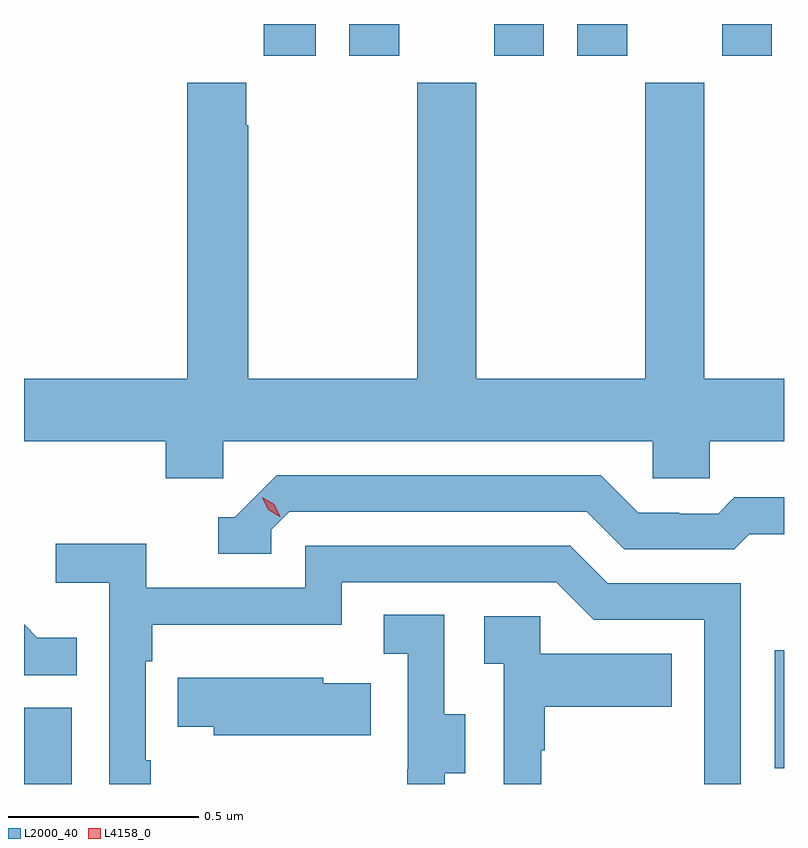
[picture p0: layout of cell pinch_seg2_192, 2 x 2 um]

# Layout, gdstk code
import gdstk
lib = gdstk.Library(unit=1e-6, precision=1e-09)
def R(c, l, rs):  # rectangles x0, y0, x1, y1
    for r in rs: c.add(gdstk.rectangle(r[:2], r[2:], *l))
def P(c, l, *ps):  # polygons
    for p in ps: c.add(gdstk.Polygon(p, *l))
L2000_40 = (2000, 40)
L4158_0 = (4158, 0)

pinch_seg2_192 = lib.new_cell('pinch_seg2_192')
R(pinch_seg2_192, L2000_40, [(1142.398,638.742,1142.524,638.943), (1144.374,638.784,1144.398,639.094), (1143.029,640.659,1143.166,640.742), (1143.254,640.659,1143.385,640.742), (1143.635,640.659,1143.766,640.742), (1143.854,640.659,1143.985,640.742), (1144.235,640.659,1144.366,640.742)])
P(pinch_seg2_192, L2000_40, [(1142.922,639.644),(1144.053,639.644),(1144.053,639.546),(1144.203,639.546),(1144.203,639.644),(1144.398,639.644),(1144.398,639.808),(1144.188,639.808),(1144.188,640.588),(1144.033,640.588),(1144.033,639.808),(1143.588,639.808),(1143.588,640.588),(1143.433,640.588),(1143.433,639.808),(1142.988,639.808),(1142.988,640.475),(1142.983,640.475),(1142.983,640.588),(1142.828,640.588),(1142.828,639.808),(1142.398,639.808),(1142.398,639.644),(1142.771,639.644),(1142.771,639.546),(1142.922,639.546)],
  [(1143.048,639.411),(1143.096,639.459),(1143.879,639.459),(1143.978,639.36),(1144.267,639.36),(1144.306,639.399),(1144.398,639.399),(1144.398,639.496),(1144.267,639.496),(1144.225,639.453),(1144.122,639.453),(1144.122,639.456),(1144.015,639.456),(1143.916,639.555),(1143.063,639.555),(1142.952,639.444),(1142.909,639.444),(1142.909,639.348),(1143.048,639.348)],
  [(1142.731,638.804),(1142.718,638.804),(1142.718,639.065),(1142.735,639.065),(1142.735,639.161),(1143.234,639.161),(1143.234,639.273),(1143.798,639.273),(1143.897,639.174),(1144.188,639.174),(1144.188,638.742),(1144.284,638.742),(1144.284,639.27),(1143.934,639.27),(1143.835,639.369),(1143.138,639.369),(1143.138,639.258),(1142.72,639.258),(1142.72,639.374),(1142.481,639.374),(1142.481,639.272),(1142.622,639.272),(1142.622,638.742),(1142.731,638.742)],
  [(1143.505,638.77),(1143.559,638.77),(1143.559,638.925),(1143.504,638.925),(1143.504,639.188),(1143.345,639.188),(1143.345,639.085),(1143.408,639.085),(1143.408,638.781),(1143.407,638.781),(1143.407,638.742),(1143.505,638.742)],
  [(1143.759,638.831),(1143.769,638.831),(1143.769,638.945),(1144.103,638.945),(1144.103,639.085),(1143.756,639.085),(1143.756,639.183),(1143.609,639.183),(1143.609,639.059),(1143.66,639.059),(1143.66,638.742),(1143.759,638.742)],
  [(1142.537,639.127),(1142.433,639.127),(1142.398,639.162),(1142.398,639.028),(1142.537,639.028)],
  [(1143.311,639.007),(1143.186,639.007),(1143.186,639.022),(1142.914,639.022),(1142.914,639.021),(1142.803,639.021),(1142.803,638.893),(1142.897,638.893),(1142.897,638.87),(1143.311,638.87)])
P(pinch_seg2_192, L4158_0, [(1143.071,639.445),(1143.041,639.464),(1143.025,639.496),(1143.025,639.496),(1143.025,639.496),(1143.056,639.478),(1143.072,639.446),(1143.072,639.445)])

lib.write_gds('pinch_seg2_192.gds')
